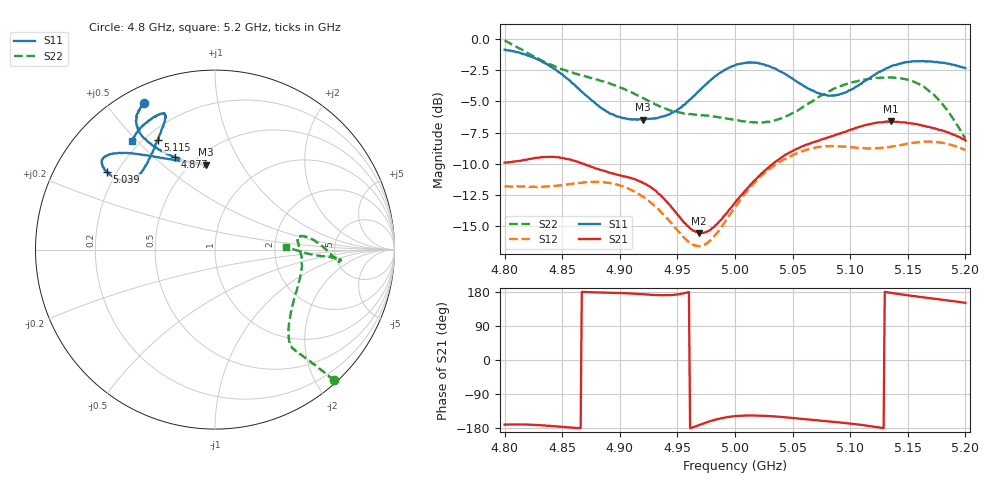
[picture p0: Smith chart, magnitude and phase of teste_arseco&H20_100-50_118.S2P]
! Network Analyzer HP8722D
! Hewlett-Packard
! Data name: Linha & Wilkinson
! Saver's name: Rodrigo Anjos
! Comments: Teste da utilização de aquisição
! continua pelo VNA HP8722D
! Time and date: 6/5/2025 13:33
!  Frequency  S11  S21  S12  S22
# HZ  S  MA R 50
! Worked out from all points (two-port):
!   401 points, 4.8 GHz to 5.2 GHz, reference 50 ohm
!   highest |S21| = -6.59 dB at 5.135 GHz (marker M1); lowest = -15.6 dB at 4.969 GHz (marker M2)
!   |S21| within 3 dB of the highest: 4.823 GHz to 4.853 GHz (30.44 MHz wide, 0.629 % of centre); 5.039 GHz to end of sweep
!   lowest |S11| = -6.5 dB at 4.92 GHz (marker M3), VSWR 2.81, Z = 29.3 + j35.7 ohm
!   |S11| at or under -10 dB: nowhere
!   |S22| runs from -8.0 to -0.1 dB; largest |S21 - S12| = 0.83
!   S11 on the Smith chart (normalised r, x): 4.8 GHz: 0.07, +0.62; 4.877 GHz: 0.39, +0.59; 5.039 GHz: 0.16, +0.32; 5.115 GHz: 0.25, +0.58; 5.2 GHz: 0.17, +0.48
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4.8e9  0.906 115.8  0.3202 -170.5  0.2571 -86.2  0.9861 -47.5
4.818e9  0.8658 120.2  0.3281 -170.4  0.2568 -82.0  0.8874 -48.6
4.835e9  0.8006 122.5  0.3373 -173.0  0.2566 -76.6  0.8077 -49.8
4.867e9  0.615 117.9  0.3181 179.7  0.2653 -67.4  0.7159 -51.5
4.877e9  0.5628 113.4  0.306 178.7  0.2676 -66.3  0.6939 -51.9
4.901e9  0.4855 100.7  0.2842 176.6  0.2584 -66.8  0.6374 -49.9
4.92e9  0.4752 95.9  0.2651 173.4  0.234 -68.8  0.5807 -44.7
4.934e9  0.4853 99.1  0.2396 171.1  0.2076 -69.4  0.5381 -37.5
4.949e9  0.5156 108.8  0.2011 172.6  0.174 -66.0  0.5108 -27.8
4.969e9  0.6205 123.3  0.1669 -171.6  0.1482 -47.9  0.497 -15.1
4.98e9  0.6914 129.6  0.1748 -160.1  0.1589 -35.3  0.4904 -9.3
5e9  0.7856 137.3  0.2212 -148.4  0.2123 -21.5  0.4745 -0.4
5.018e9  0.8028 141.7  0.274 -146.4  0.2692 -18.3  0.4643 5.8
5.039e9  0.7418 144.1  0.3321 -150.0  0.3223 -18.3  0.4798 8.8
5.067e9  0.6214 142.1  0.3845 -158.0  0.3654 -20.6  0.5626 4.6
5.088e9  0.596 133.0  0.4137 -163.8  0.3719 -23.8  0.6374 -1.7
5.115e9  0.6906 117.6  0.4545 -173.5  0.3643 -26.7  0.6908 -5.3
5.134e9  0.7715 111.2  0.4657 177.9  0.3692 -28.7  0.7011 -4.8
5.135e9  0.7754 111.1  0.468 177.5  0.3704 -28.8  0.7017 -4.7
5.162e9  0.8156 112.9  0.4507 165.8  0.3876 -35.4  0.6525 -3.9
5.18e9  0.8029 118.9  0.4299 159.0  0.3843 -41.0  0.5493 -3.0
5.2e9  0.7637 127.4  0.3925 150.9  0.3593 -46.3  0.398 2.2
